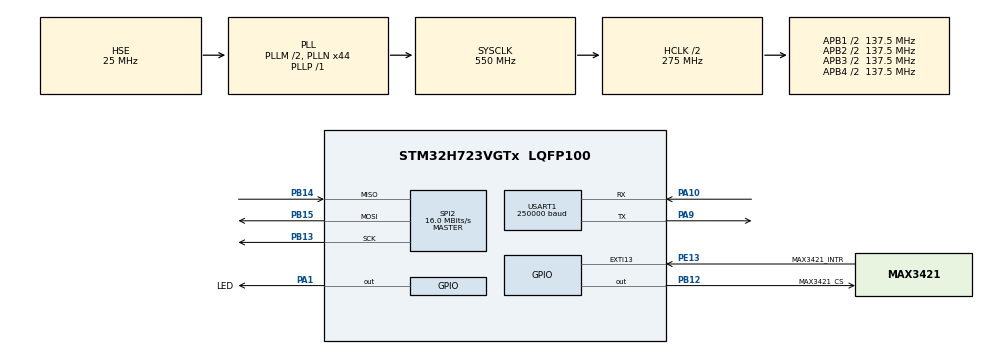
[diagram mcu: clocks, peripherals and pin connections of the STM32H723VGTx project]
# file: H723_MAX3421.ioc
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CORTEX_M7.default_mode_Activation=1
Mcu.Family=STM32H7
Mcu.Name=STM32H723VGTx
Mcu.Package=LQFP100
NVIC.EXTI15_10_IRQn=true\:0\:0\:false\:false\:true\:true\:true\:true
NVIC.PriorityGroup=NVIC_PRIORITYGROUP_4
NVIC.TIM6_DAC_IRQn=true\:15\:0\:false\:false\:true\:false\:true\:true
NVIC.TimeBase=TIM6_DAC_IRQn
NVIC.TimeBaseIP=TIM6
PA1.GPIO_Label=LED
PA1.PinState=GPIO_PIN_RESET
PA1.Signal=GPIO_Output
PA10.Mode=Asynchronous
PA10.Signal=USART1_RX
PA9.Mode=Asynchronous
PA9.Signal=USART1_TX
PB12.GPIO_Label=MAX3421_CS
PB12.Signal=GPIO_Output
PB13.GPIO_PuPd=GPIO_NOPULL
PB13.GPIO_Speed=GPIO_SPEED_FREQ_LOW
PB13.Mode=Full_Duplex_Master
PB13.Signal=SPI2_SCK
PB14.GPIO_PuPd=GPIO_NOPULL
PB14.GPIO_Speed=GPIO_SPEED_FREQ_LOW
PB14.Mode=Full_Duplex_Master
PB14.Signal=SPI2_MISO
PB15.GPIO_PuPd=GPIO_NOPULL
PB15.GPIO_Speed=GPIO_SPEED_FREQ_LOW
PB15.Mode=Full_Duplex_Master
PB15.Signal=SPI2_MOSI
PE13.GPIO_Label=MAX3421_INTR
PE13.GPIO_ModeDefaultEXTI=GPIO_MODE_IT_FALLING
PE13.GPIO_PuPd=GPIO_NOPULL
PE13.Signal=GPXTI13
PH0-OSC_IN.Mode=HSE-External-Oscillator
PH0-OSC_IN.Signal=RCC_OSC_IN
PH1-OSC_OUT.Mode=HSE-External-Oscillator
PH1-OSC_OUT.Signal=RCC_OSC_OUT
ProjectManager.HeapSize=0x200
ProjectManager.StackSize=0x400
ProjectManager.TargetToolchain=STM32CubeIDE
RCC.ADCFreq_Value=10000000
RCC.APB1Freq_Value=137500000
RCC.APB2Freq_Value=137500000
RCC.APB3Freq_Value=137500000
RCC.APB4Freq_Value=137500000
RCC.CortexFreq_Value=68750000
RCC.Cortex_Div=SYSTICK_CLKSOURCE_HCLK_DIV8
RCC.D1PPRE=RCC_APB3_DIV2
RCC.D2PPRE1=RCC_APB1_DIV2
RCC.D2PPRE2=RCC_APB2_DIV2
RCC.D3PPRE=RCC_APB4_DIV2
RCC.DATA_CACHE_ENABLE=1
RCC.DIVM1=2
RCC.DIVM2=5
RCC.DIVM3=5
RCC.DIVN1=44
RCC.DIVN2=40
RCC.DIVN3=64
RCC.DIVP1=1
RCC.DIVP2=20
RCC.DIVP3=4
RCC.DIVQ1=11
RCC.HCLKFreq_Value=275000000
RCC.HPRE=RCC_HCLK_DIV2
RCC.HSE_VALUE=25000000
RCC.INSTRUCTION_CACHE_ENABLE=1
RCC.PLL2FRACN=0
RCC.PLL3FRACN=0
RCC.PLLFRACN=0
RCC.PLLSourceVirtual=RCC_PLLSOURCE_HSE
RCC.PREFETCH_ENABLE=1
RCC.SPI123CLockSelection=RCC_SPI123CLKSOURCE_CLKP
RCC.SYSCLKFreq_VALUE=550000000
RCC.SYSCLKSource=RCC_SYSCLKSOURCE_PLLCLK
RCC.USBCLockSelection=RCC_USBCLKSOURCE_HSI48
RCC.USBFreq_Value=48000000
SPI2.BaudRatePrescaler=SPI_BAUDRATEPRESCALER_4
SPI2.CLKPhase=SPI_PHASE_1EDGE
SPI2.CLKPolarity=SPI_POLARITY_LOW
SPI2.CalculateBaudRate=16.0 MBits/s
SPI2.DataSize=SPI_DATASIZE_8BIT
SPI2.Direction=SPI_DIRECTION_2LINES
SPI2.FirstBit=SPI_FIRSTBIT_MSB
SPI2.MasterInterDataIdleness=SPI_MASTER_INTERDATA_IDLENESS_15CYCLE
SPI2.MasterSSIdleness=SPI_MASTER_SS_IDLENESS_15CYCLE
SPI2.Mode=SPI_MODE_MASTER
SPI2.NSSPMode=SPI_NSS_PULSE_DISABLE
SPI2.NSSPolarity=SPI_NSS_POLARITY_LOW
SPI2.VirtualType=VM_MASTER
USART1.BaudRate=250000
USART1.VirtualMode-Asynchronous=VM_ASYNC
VP_MEMORYMAP_VS_MEMORYMAP.Mode=CurAppReg
VP_SYS_VS_tim6.Mode=TIM6
board=custom

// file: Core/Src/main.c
/* USER CODE BEGIN Header */
/**
 ******************************************************************************
 * @file           : main.c
 * @brief          : Main program body
 ******************************************************************************
 * @attention
 *
 * Copyright (c) 2026 STMicroelectronics.
 * All rights reserved.
 *
 * This software is licensed under terms that can be found in the LICENSE file
 * in the root directory of this software component.
 * If no LICENSE file comes with this software, it is provided AS-IS.
 *
 ******************************************************************************
 */

/**********************************************************************************************
 * IRON 2026 smart USB bootloader for Mellow Fly D8 Pro (STM32H723) with MAX3421 at EXP2 port *
 **********************************************************************************************/

/* USER CODE END Header */
#include "main.h"

/* USER CODE BEGIN Includes */

#include <stdarg.h>      // For uart_printf
#include <string.h>      // For memset
#include "tusb.h"        // TinyUSB
#include "tusb_config.h" // TinyUSB configuration
#include "ff.h"          // FatFS
#include "diskio.h"      // DiskIO for FatFS

// Function prototypes of API functions
void tuh_max3421_spi_cs_api(uint8_t rhport, bool active);
uint8_t tuh_max3421_reg_read(uint8_t rhport, uint8_t reg, bool in_isr);
bool tuh_max3421_reg_write(uint8_t rhport, uint8_t reg, uint8_t data, bool in_isr);

// define the buffer to be place in USB/DMA memory with correct alignment/cache line size
CFG_TUH_MEM_SECTION static struct {
	TUH_EPBUF_TYPE_DEF(scsi_inquiry_resp_t, inquiry)
	;
} scsi_resp;

/* USER CODE END Includes */

/* USER CODE BEGIN PD */

#define DEBUG_USART_HANDLE       huart1                                 // The UART to send debug info to
#define SPI_HANDLE               hspi2                                  // SPI device for MAX3421 communication
// NOTE: Select "LOW" for the SPI pins maximum frequency

#define FAST_SPI                                                        // Use a faster/leaner SPI implementation

#define VERBOSE_MODE                                                    // Comment out to disable sending info to USART (250K baud)
#define COMPARE_BEFORE_FLASH                                            // Comment out to not compare the firmware file to the flash contents (faster)
#define FIRMWARE_FILENAME        "firmware.bin"                         // The firmware file to flash
#define FIRMWARE_RENAME          "firmware.cur"                         // Rename the firmware after flashing

// Make sure pins don't interfere with SWD debug pins PA13 and PA14, disable when debugging
#define PROGRESS_LED_PIN         GPIO_PIN_13                            // Progress LED pin, flashes during flash update
#define PROGRESS_LED_PORT        GPIOA                                  // Progress LED port

#define DFU_ON_DOUBLE_RESET                                             // Double reset to start DFU mode, comment out to disable
#define DFU_MAGIC_KEY            0xBA5EBA11                             // Magic key to detect DFU mode
#define DFU_MAGIC_KEY_ADDRESS    RTC->BKP31R                            // Store the magic key at RTC backup register 31

#define FLASHWORD                (FLASH_NB_32BITWORD_IN_FLASHWORD * 4U) // 32 bytes on STM32H7
#define FILE_BUFFER_SIZE         4096UL                                 // File buffer size, must be divisible by FLASHWORD

#define FLASH_BOOTLOADER_SIZE    (FLASH_SECTOR_SIZE * 1)                // Bootloader flash size (1 sector of 128KBytes)
#define FLASH_USER_START_SECTOR  1U                                     // Bootloader in sector 0, user app starts at sector 1
#define FLASH_USER_START_ADDR    (FLASH_BASE + FLASH_BOOTLOADER_SIZE)   // Should start on a new sector boundary

/* STM32 DFU bootloader addresses
 STM32C0   0x1FFF0000 | STM32F030x8 0x1FFFEC00 | STM32F030xC 0x1FFFD800 | STM32F03xx 0x1FFFEC00
 STM32F05  0x1FFFEC00 | STM32F07    0x1FFFC800 | STM32F09    0x1FFFD800 | STM32F10xx 0x1FFFF000
 STM32F105 0x1FFFB000 | STM32F107   0x1FFFB000 | STM32F10XL  0x1FFFE000 | STM32F2    0x1FFF0000
 STM32F3   0x1FFFD800 | STM32F4     0x1FFF0000 | STM32F7     0x1FF00000 | STM32G0    0x1FFF0000
 STM32G4   0x1FFF0000 | STM32H503   0x0BF87000 | STM32H563   0x0BF97000 | STM32H573  0x0BF97000
 STM32H7x  0x1FF09800 | STM32H7A    0x1FF0A800 | STM32H7B    0x1FF0A000 | STM32L0    0x1FF00000
 STM32L1   0x1FF00000 | STM32L4     0x1FFF0000 | STM32L5     0x0BF90000 | STM32WBA   0x0BF88000
 STM32WBX  0x1FFF0000 | STM32WL     0x1FFF0000 | STM32U5     0x0BF90000 */

#define DFU_BOOTLOADER_ADDRESS   0x1FF09800U // STM32H7xx address to start the DFU bootloader

/* FATFS ERROR CODES
 0 Succeeded
 1 A hard error occurred in the low level disk I/O layer
 2 Assertion failed
 3 The physical drive cannot work
 4 Could not find the file
 5 Could not find the path
 6 The path name format is invalid
 7 Access denied due to prohibited access or directory full
 8 Access denied due to prohibited access
 9 The file/directory object is invalid
 10 The physical drive is write protected
 11 The logical drive number is invalid
 12 The volume has no work area
 13 There is no valid FAT volume
 14 The f_mkfs() aborted due to any problem
 15 Could not get a grant to access the volume within defined period
 16 The operation is rejected according to the file sharing policy
 17 LFN working buffer could not be allocated
 18 Number of open files > _FS_LOCK
 19 Given parameter is invalid */

/* USER CODE END PD */

SPI_HandleTypeDef hspi2;

UART_HandleTypeDef huart1;

/* USER CODE BEGIN PV */

FATFS FatFs;                      // FAT File System handle
FIL fwFile;                       // File handle for the firmware file
FRESULT result;                   // File operation result
uint32_t fileSize;                // Firmware file size in bytes
uint8_t fileBuffer[FILE_BUFFER_SIZE] __attribute__((aligned(32))); // File read buffer
volatile bool _disk_busy = false; // For FatFs

/* USER CODE END PV */

void SystemClock_Config(void);
void PeriphCommonClock_Config(void);
static void MPU_Config(void);
static void MX_GPIO_Init(void);
static void MX_SPI2_Init(void);
static void MX_USART1_UART_Init(void);

/* USER CODE BEGIN 0 */

// Calculate CRC32 of a block of data
#define CRC32_START 0xFFFFFFFF // Start value for the CRC32 calculation
uint32_t crc32b(uint32_t crc, uint8_t *data, uint32_t size) {
	for (int i = 0; i < size; i++) {
		crc = crc ^ data[i];
		for (int j = 8; j; j--)
			crc = (crc >> 1) ^ (0xEDB88320 & -(crc & 1));
	}
	return ~crc;
}

#ifdef VERBOSE_MODE // No serial output if not in VERBOSE_MODE

// Lightweight printf, prints to uart (DEBUG_USART_HANDLE), no floats
void uart_printf(const char *fmt, ...) {
	va_list va;
	va_start(va, fmt);
	char debug_msg[255]; // Message buffer
	char *buf = debug_msg;
	char c;
	unsigned int num;

	while ((c = *(fmt++))) {

		if (c == '%') {
			int width = 0;
			int base = 2;
			int s_int = 0;
			char space_zero = ' ';
			MORE_FORMAT:
				c = *(fmt++); // Skip '%', check parameters

				switch (c) {
			case '0':
				if (width == 0)
					space_zero = '0';
			case '1' ... '9': // Width indicators
				width = (width * 10) + c - '0';
				goto MORE_FORMAT;

			case '%': // "%%" prints "%"
				*(buf++) = '%';
				break;

			case 'c': // Character
				*(buf++) = va_arg(va, int);
				break;

			case 'd': // Signed integer, base 10
			case 'i':
				base = 10;
				s_int = va_arg(va, int);
				if (s_int < 0)
					num = -s_int;
				else
					num = s_int;
				goto ATOI;
			case 'x':      // Hexadecimal, base 16
				base += 6; // 2 + 6 + 8 is base 16
			case 'u':      // Unsigned integer, base 10
				base += 8; // 2 + 8 is base 10
			case 'b':      // Binary, base 2
				num = va_arg(va, unsigned int);
				ATOI: char tmp[32]; // 32bit
				char *q = tmp;

				do {
					int rem = '0' + (num % base);
					if (rem > '9')
						rem += 7; // Map to 'ABCDEF'
					*(q++) = rem;
				} while ((num /= base));

				if (s_int < 0)
					*(q++) = '-';

				width -= q - tmp;
				while (width-- > 0)
					*(buf++) = space_zero;

				while (tmp < q) // Reverse data order, "123" --> "321"
					*(buf++) = *(--q);
				break;

			case 's':  // String
			{
				const char *p = va_arg(va, const char*);
				while (*p)
					*(buf++) = *(p++);
			}
			}
		} else
			*(buf++) = c; // Copy literal characters
	}
	*buf = '\0'; // Terminate string

	va_end(va);

	HAL_UART_Transmit(&DEBUG_USART_HANDLE, (uint8_t*) debug_msg, buf - debug_msg, HAL_MAX_DELAY);

#ifdef PROGRESS_LED_PIN
	HAL_GPIO_TogglePin(PROGRESS_LED_PORT, PROGRESS_LED_PIN); // Flash LED
#endif
}

#else

  #ifdef PROGRESS_LED_PIN
    void uart_printf(const char * fmt, ...) { HAL_GPIO_TogglePin(PROGRESS_LED_PORT, PROGRESS_LED_PIN); }
  #else
    void uart_printf(const char * fmt, ...) { }
  #endif

#endif

#ifdef DFU_ON_DOUBLE_RESET

#define set_magic_key(a) *(__IO uint32_t *)DFU_MAGIC_KEY_ADDRESS = a; \
                             *(__IO uint32_t *)DFU_MAGIC_KEY_ADDRESS = a

#else

    #define set_magic_key(a)

#endif

// Return value: 0=equal, 1=different, 2=error
uint32_t compareFlashToFile(void) {
	uint32_t i = 0, j;
	uint32_t file_crc32 = ~CRC32_START; // Invert here, will be undone in crc32b
	int different = 0;
	unsigned int bytesRead;
	result = f_lseek(&fwFile, 0); // Not strictly needed

	while ((i < fileSize) && (result == FR_OK) && (different == 0)) {
		result = f_read(&fwFile, fileBuffer, FILE_BUFFER_SIZE, &bytesRead);
		file_crc32 = crc32b(~file_crc32, fileBuffer, bytesRead);
		j = 0;
		while ((j < bytesRead) && (result == FR_OK) && (different == 0)) {
			if (*(__IO char*) (FLASH_USER_START_ADDR + i + j) != fileBuffer[j]) {
				different = 1;
				uart_printf("Difference found at: 0x%x\r\n", FLASH_USER_START_ADDR + i + j);
			}
			j++;
		}
		i += bytesRead;
	}

	if (result) {
		uart_printf("File read error: %d\r\n", result);
		return 2;
	} else if (different)
		uart_printf("Flash contents differs, updating...\r\n");
	else {
		uart_printf("Flash contents is the same, done!\r\n");
		uart_printf("Flash CRC32: 0x%x\r\n", file_crc32);
	}

	return different; // 0=equal, 1=different, 2=file read error
}

// Return value: 0=OK, 1=failed/error
int CopyFileToFlashMemory(void) {
	// STM32H7xx FLASH SECTORS 0-7 all are 128KBytes (FLASH_SECTOR_SIZE)

	// Erase required sectors to fit the user application
	uint32_t erasedSize = 0;
	uint32_t sector = FLASH_USER_START_SECTOR;

	HAL_FLASH_Unlock();
	FRESULT file_result = f_lseek(&fwFile, 0);

	while ((erasedSize < fileSize) && !file_result) {
		uart_printf("Erasing 128KB flash sector %d\r\n", sector);

	    FLASH_Erase_Sector(sector, FLASH_BANK_1, FLASH_VOLTAGE_RANGE_3);
	    if (HAL_FLASH_GetError() != HAL_FLASH_ERROR_NONE) {
	        uart_printf("Flash erase error: 0x%x\r\n", HAL_FLASH_GetError());
	        HAL_FLASH_Lock();
	        return 1;
	    }

	    erasedSize += FLASH_SECTOR_SIZE;
		sector++;
	}

	uart_printf("Flashing firmware to 0x0%x\r\n",
	FLASH_USER_START_ADDR);

	uint32_t byteCounter = 0;
	uint32_t i;
	uint32_t file_crc32 = ~CRC32_START; // Invert here, will be undone in crc32b
	unsigned int bytesRead;

	// Copy file to flash memory
	HAL_StatusTypeDef flash_result = HAL_OK;
	while ((byteCounter < fileSize) && !file_result) {
		// f_read will always return a full buffer, except at the end of the file
		file_result = f_read(&fwFile, fileBuffer, FILE_BUFFER_SIZE, &bytesRead);
		file_crc32 = crc32b(~file_crc32, fileBuffer, bytesRead);

		if (bytesRead < FILE_BUFFER_SIZE) // Add some "erased flash" bytes to the buffer at the end of the file
			memset(fileBuffer + bytesRead, 0xFF, (FILE_BUFFER_SIZE - bytesRead) % FLASHWORD);

		// Write FLASHWORDs to flash memory
		i = 0;
		while ((i < bytesRead) && !file_result && !flash_result) {
			flash_result = HAL_FLASH_Program(FLASH_TYPEPROGRAM_FLASHWORD,
			FLASH_USER_START_ADDR + byteCounter + i, (uint32_t) (fileBuffer + i));
			i += FLASHWORD;
		}
		byteCounter += bytesRead;
	}

	HAL_FLASH_Lock();

	// Verify flash contents
	int status = 0;
	if ((file_result == FR_OK) && (flash_result == HAL_OK)) { // All went OK, verify flash contents
		uint32_t flash_crc32 = crc32b(CRC32_START, (uint8_t*) FLASH_USER_START_ADDR, fileSize);

		if (file_crc32 != flash_crc32) {
			uart_printf("ERROR: Verify failed, CRC: 0x%x\r\n", flash_crc32);
			status = 1;
		}
		else
			uart_printf("Verify OK\r\nFlash CRC32: 0x%x\r\n", flash_crc32);

	} else { // File read error or flash error
		status  = 1;

		if (file_result != FR_OK)
            uart_printf("File error: %d\r\n", file_result);

        if (flash_result != HAL_OK)
            uart_printf("Flash program error: %d\r\n", flash_result);
	}

	HAL_Delay(1000); // Give some time to read the error before restarting

	return status;
}

// -----------------------------------------------------------------
// TinyUSB SPI API for MAX3421 USB 2.0 HOST
// -----------------------------------------------------------------
// API to enable/disable MAX3421 INTR pin interrupt
// Continuously called when SPI traffic occurs
void tuh_max3421_int_api(uint8_t rhport, bool enabled) {
	(void) rhport; // Not used

	if (enabled) {
		// Configure MAX3421 interrupt line, pin PE13
		HAL_NVIC_SetPriority(EXTI15_10_IRQn, 0, 0); // Set interrupt priority
		HAL_NVIC_EnableIRQ(EXTI15_10_IRQn);         // Enable EXT interrupt
	} else
		HAL_NVIC_DisableIRQ(EXTI15_10_IRQn);        // Disable EXT interrupt
}

// TinyUSB API to control MAX3421 SPI CS
// Note: Hardware NSS doesn't work with the MAX3421 for some reason
void tuh_max3421_spi_cs_api(uint8_t rhport, bool active) {
	(void) rhport; // Not used
	HAL_GPIO_WritePin(MAX3421_CS_GPIO_Port, MAX3421_CS_Pin, active ? GPIO_PIN_RESET : GPIO_PIN_SET);
}

// This is a stripped down version of:
// HAL_StatusTypeDef HAL_SPI_TransmitReceive(SPI_HandleTypeDef *hspi, const uint8_t *pTxData, uint8_t *pRxData, uint16_t Size, uint32_t Timeout);
void HAL_SPI_TransmitReceive_fast(const uint8_t *pTxData, uint8_t *pRxData, uint16_t count) {
	uint16_t rx_count = count;
	uint16_t tx_count = count;
	static volatile uint8_t dummy;

	volatile uint8_t *TXDR = (uint8_t*) &(SPI_HANDLE.Instance->TXDR);
	volatile uint8_t *RXDR = (uint8_t*) &(SPI_HANDLE.Instance->RXDR);
	volatile uint32_t *SR = &(SPI_HANDLE.Instance->SR);

	// Set the number of data at current transfer
	MODIFY_REG(SPI_HANDLE.Instance->CR2, SPI_CR2_TSIZE, count);

	__HAL_SPI_ENABLE(&SPI_HANDLE);
	SET_BIT(SPI_HANDLE.Instance->CR1, SPI_CR1_CSTART);

	while (tx_count || rx_count) {
		if (tx_count && (*SR & SPI_FLAG_TXE)) {
			if (pTxData)
				*TXDR = *pTxData++;
			else
				*TXDR = 0xFF;
			tx_count--;
		}

		if (rx_count && (*SR & SPI_FLAG_RXNE)) {
			if (pRxData)
				*pRxData++ = *RXDR;
			else
				dummy = *RXDR;
			rx_count--;
		}
	}

	// Call standard close procedure with error check
	__HAL_SPI_CLEAR_TXTFFLAG(&SPI_HANDLE);
	__HAL_SPI_DISABLE(&SPI_HANDLE);

	UNUSED(dummy);
}

// TinyUSB API to transfer data with MAX3421 SPI
// Either tx_buf or rx_buf can be NULL, which means transfer is write or read only
bool tuh_max3421_spi_xfer_api(uint8_t rhport, uint8_t const *tx_buf, uint8_t *rx_buf, size_t xfer_bytes) {
	(void) rhport; // Unused

#ifdef FAST_SPI // Faster SPI implementation
	HAL_SPI_TransmitReceive_fast(tx_buf, rx_buf, xfer_bytes);
#else

  if ((tx_buf == NULL) && (rx_buf == NULL))
    return false;

  if (tx_buf == NULL) // Receive only
    return (HAL_SPI_Receive(&SPI_HANDLE, rx_buf, (uint16_t)xfer_bytes, 1000) == HAL_OK);

  if (rx_buf == NULL) // Send only
    return (HAL_SPI_Transmit(&SPI_HANDLE, tx_buf, (uint16_t)xfer_bytes, 1000) == HAL_OK);

  // Send and receive
  HAL_SPI_TransmitReceive(&SPI_HANDLE, tx_buf, rx_buf, xfer_bytes, 1000);

#endif // FAST_SPI

	return true;

}

// TinyUSB API to get time in milliseconds
uint32_t tusb_time_millis_api(void) {
	return HAL_GetTick();
}

// TinyUSB Callback implementation
static bool inquiry_complete_cb(uint8_t dev_addr, tuh_msc_complete_data_t const *cb_data) {
	msc_cbw_t const *cbw = cb_data->cbw;
	msc_csw_t const *csw = cb_data->csw;

	if (csw->status != 0) {
		uart_printf("Inquiry failed\r\n");
		return false;
	}

	// Get capacity of device
	uint32_t const block_count = tuh_msc_get_block_count(dev_addr, cbw->lun);
	uint32_t const block_size = tuh_msc_get_block_size(dev_addr, cbw->lun);

	uart_printf("Time: %ums  Disk size: %d MB\r\n%d blocks of %d bytes\r\n", HAL_GetTick(),
			block_count / ((1024 * 1024) / block_size), block_count, block_size);

	result = f_mount(&FatFs, "", 1);
	if (result) {
		if (result == 3)
			uart_printf("No medium mounted, status: 3\r\n");
		else
			uart_printf("ERROR: USB mounting failed\r\nNot FAT/exFAT? Error: %d\r\n", result);

		goto USER_APP;
	}

	uart_printf(FIRMWARE_FILENAME);
	if (f_open(&fwFile, FIRMWARE_FILENAME, FA_READ)) {
		uart_printf(" not found\r\n");
		goto USER_APP;
	}
	uart_printf(" opened successfully\r\n");

	fileSize = f_size(&fwFile);

	// Get device flash size from memory (in KBytes)
	__IO uint16_t flashSize = *(uint16_t*) (FLASHSIZE_BASE);
	uart_printf("Total flash memory size: %d KB\r\n", flashSize);

	uint32_t freeFlash = (flashSize << 10) - FLASH_BOOTLOADER_SIZE;
	uart_printf("Free flash space: %d KB\r\n", freeFlash >> 10);

	uart_printf("Firmware file size: %d KB\r\n", fileSize >> 10);

	if (fileSize > freeFlash) {
		uart_printf("ERROR: Not enough free flash space\r\n");
		f_close(&fwFile); // Not strictly needed, comment out to save some flash
		goto USER_APP;
	}

#ifdef COMPARE_BEFORE_FLASH

	uart_printf("Comparing update to flash contents...\r\n");

	result = compareFlashToFile(); // Return value: 0=equal, 1=different, 2=error

	if (result > 1) // File read error
		goto USER_APP;

	if (result == 1) // Flash is different, update required
		result = CopyFileToFlashMemory(); // Return value: 0=OK, 1=failed/error

#else // Just flash the file

    result = CopyFileToFlashMemory(); // Return value: 0=OK, 1=failed/error

#endif

	f_close(&fwFile); // Must close file before renaming

#ifdef FIRMWARE_RENAME

	if (result == FR_OK) { // Only rename/delete if file was flashed successfully

		f_unlink(FIRMWARE_RENAME); // Delete the old firmware (if present)

		if (f_rename(FIRMWARE_FILENAME, FIRMWARE_RENAME) != FR_OK) {
			uart_printf("ERROR: Failed to rename firmware file");
			result = 1; // Signal error
		} else
			uart_printf("Renaming file to %s\r\n", FIRMWARE_RENAME);
	}

#endif

	USER_APP:

	set_magic_key(0); // IMPORTANT, KEEP HERE

	f_mount(NULL, "", 0); // Unmount USB, not strictly needed, comment out to save some flash

	if (*(__IO uint32_t*) FLASH_USER_START_ADDR != 0xFFFFFFFF) { // Check if flash is empty

		uart_printf("Starting user application at 0x0%x\r\n",
		FLASH_USER_START_ADDR);
		HAL_Delay(25);

		tuh_max3421_int_api(0, false);
		HAL_RCC_DeInit(); // Set the clock to the default state
		HAL_DeInit();

		uint32_t *vtor = (void*) FLASH_USER_START_ADDR;
		SCB->VTOR = (uint32_t) vtor;
		__DSB();
		__ISB();

		// Make the jump
		asm volatile("MSR msp,%0\nbx %1" : : "r"(vtor[0]), "r"(vtor[1]));
	}

	uart_printf("No user application found, done!\r\n");

	while (1) { // Start slow LED flash
#ifdef PROGRESS_LED_PIN
		HAL_GPIO_TogglePin(PROGRESS_LED_PORT, PROGRESS_LED_PIN);
		HAL_Delay(1500);
#endif
	};

	return true;
}

void tuh_msc_mount_cb(uint8_t dev_addr) { // Device mounted
	uint8_t const lun = 0;
	tuh_msc_inquiry(dev_addr, lun, &scsi_resp.inquiry, inquiry_complete_cb, 0);
}

//--------------------------------------------------------------------+
// DiskIO Implementation
//--------------------------------------------------------------------+
static void wait_for_disk_io(BYTE pdrv) {
	while (_disk_busy)
		tuh_task();
}

static bool disk_io_complete(uint8_t dev_addr, tuh_msc_complete_data_t const *cb_data) {
	(void) dev_addr;
	(void) cb_data;
	_disk_busy = false;
	return true;
}

DSTATUS disk_status(BYTE pdrv) { // Physical drive number should be 0
	uint8_t dev_addr = pdrv + 1;
	return tuh_msc_mounted(dev_addr) ? 0 : STA_NODISK;
}

DSTATUS disk_initialize(BYTE pdrv) { // Physical drive number should be 0
	(void) pdrv;
	return 0; // nothing to do
}

DRESULT disk_read(BYTE pdrv,      // Physical drive nmuber to identify the drive
		BYTE *buff,    // Data buffer to store read data
		LBA_t sector,  // Start sector in LBA
		UINT count) {  // Number of sectors to read

	uint8_t const dev_addr = pdrv + 1;
	uint8_t const lun = 0;

	_disk_busy = true;
	if (!tuh_msc_read10(dev_addr, lun, buff, sector, (uint16_t)count, disk_io_complete, 0)) {
	    _disk_busy = false;
	    return RES_ERROR;
	}
	wait_for_disk_io(pdrv);

	return RES_OK;
}

#if (FF_FS_READONLY == 0)
DRESULT disk_write(BYTE pdrv, /* Physical drive number to identify the drive */
const BYTE *buff, /* Data to be written */
LBA_t sector, /* Start sector in LBA */
UINT count) { /* Number of sectors to write */

	uint8_t const dev_addr = pdrv + 1;
	uint8_t const lun = 0;

	_disk_busy = true;
	tuh_msc_write10(dev_addr, lun, buff, sector, (uint16_t) count, disk_io_complete, 0);
	wait_for_disk_io(pdrv);

	return RES_OK;
}
#endif

DRESULT disk_ioctl(BYTE pdrv, /* Physical drive number (0..) */
BYTE cmd, /* Control code */
void *buff) { /* Buffer to send/receive control data */

	uint8_t const dev_addr = pdrv + 1;
	uint8_t const lun = 0;
	switch (cmd) {
	case CTRL_SYNC:
		// nothing to do since we do blocking
		return RES_OK;

	case GET_SECTOR_COUNT:
		*((DWORD*) buff) = (WORD) tuh_msc_get_block_count(dev_addr, lun);
		return RES_OK;

	case GET_SECTOR_SIZE:
		*((WORD*) buff) = (WORD) tuh_msc_get_block_size(dev_addr, lun);
		return RES_OK;

	case GET_BLOCK_SIZE:
		*((DWORD*) buff) = 1;    // erase block size in units of sector size
		return RES_OK;

	default:
		return RES_PARERR;
	}

	return RES_OK;
}

#define rHIRQ         (25 << 3)
#define bmFRAMEIRQ    0x40
bool MAX3421_wait_frames(uint32_t frames, uint32_t timeout) {
	tuh_max3421_reg_write(0, rHIRQ, bmFRAMEIRQ, false); // clear the FRAME interrupt
	uint32_t start = HAL_GetTick();
	while (frames && (HAL_GetTick() - start < timeout)) {
		if (tuh_max3421_reg_read(0, rHIRQ, false) & bmFRAMEIRQ) {
			tuh_max3421_reg_write(0, rHIRQ, bmFRAMEIRQ, false); // clear the FRAME interrupt
			frames--;
		}
	}
// tuh_task();
	return (frames > 0);
}

/* USER CODE END 0 */

int main(void)
{

  /* MPU Configuration--------------------------------------------------------*/
  MPU_Config();

  /* MCU Configuration--------------------------------------------------------*/

  /* Reset of all peripherals, Initializes the Flash interface and the Systick. */
  HAL_Init();

  /* Configure the system clock */
  SystemClock_Config();

  /* Configure the peripherals common clocks */
  PeriphCommonClock_Config();

  /* Initialize all configured peripherals */
  MX_GPIO_Init();
  MX_SPI2_Init();
  MX_USART1_UART_Init();
  /* USER CODE BEGIN 2 */

	// Enable RTC clock for DFU magic key access
	HAL_PWR_EnableBkUpAccess();
	__HAL_RCC_RTC_CLK_ENABLE();

	tuh_max3421_reg_read(0, (18 << 3), false); // Startup SPI dummy command, read chip revision

	tusb_rhport_init_t host_init = { .role = TUSB_ROLE_HOST, .speed = TUSB_SPEED_AUTO };
	tusb_init(BOARD_TUH_RHPORT, &host_init);

#ifdef DFU_ON_DOUBLE_RESET

	// Detect magic key
	if (*(__IO uint32_t*) DFU_MAGIC_KEY_ADDRESS == DFU_MAGIC_KEY) {
		set_magic_key(0);
		MX_GPIO_Init();
		MX_USART1_UART_Init();
		uart_printf("\r\nStarting DFU mode\r\n");
		HAL_Delay(25);

		tuh_max3421_int_api(0, false);
		HAL_RCC_DeInit(); // Set the clock to the default state
		HAL_DeInit();

		uint32_t *vtor = (void*) DFU_BOOTLOADER_ADDRESS;
		SCB->VTOR = (uint32_t) vtor;
		__DSB();
		__ISB();

		// Make the jump
		asm volatile("MSR msp,%0\nbx %1" : : "r"(vtor[0]), "r"(vtor[1]));
	}

	// Wait for 2nd reset while DFU marker is set
	set_magic_key(DFU_MAGIC_KEY);

#endif

	bool dontwait = MAX3421_wait_frames(250, 2500); // Number of frames (about 2ms/frame), timeout in ms

#ifdef DFU_ON_DOUBLE_RESET

	set_magic_key(0);

#endif

	uart_printf("MAX3421 USB bootloader started\r\n");

  /* USER CODE END 2 */

  /* Infinite loop */
  /* USER CODE BEGIN WHILE */

	while (1) {
		tuh_task();

		// Timeout counter
		if (dontwait || (HAL_GetTick() > 2200)) { // Usually takes 1150-2200ms

			uart_printf("Time: %ums   Timeout...\r\n", HAL_GetTick());
			set_magic_key(0); // IMPORTANT, KEEP HERE

			f_mount(NULL, "", 0); // Unmount USB, not strictly needed, comment out to save some flash

			if (*(__IO uint32_t*) FLASH_USER_START_ADDR != 0xFFFFFFFF) { // Check if flash is empty

				uart_printf("Starting user application at 0x0%x\r\n",
				FLASH_USER_START_ADDR);
				HAL_Delay(25);

				tuh_max3421_int_api(0, false);
				SysTick->CTRL = SysTick->LOAD = SysTick->VAL = 0;
				SCB->ICSR |= SCB_ICSR_PENDSTCLR_Msk; // clear pending SysTick
				HAL_RCC_DeInit(); // Set the clock to the default state
				HAL_DeInit();

				SCB->VTOR = FLASH_USER_START_ADDR;
				__DSB();
				__ISB();

				uint32_t jump_addr = *(__IO uint32_t*) (FLASH_USER_START_ADDR + 4);
				__set_MSP(*(__IO uint32_t*) FLASH_USER_START_ADDR);
				((void (*)(void)) jump_addr)(); /* never returns */
			}

			uart_printf("No user application found, done!\r\n");

			while (1) { // Start slow LED flash
#ifdef PROGRESS_LED_PIN
				HAL_GPIO_TogglePin(PROGRESS_LED_PORT, PROGRESS_LED_PIN);
				HAL_Delay(1500);
#endif
			};
		}

    /* USER CODE END WHILE */

	}
}

void SystemClock_Config(void)
{
  RCC_OscInitTypeDef RCC_OscInitStruct = {0};
  RCC_ClkInitTypeDef RCC_ClkInitStruct = {0};

  /** Supply configuration update enable
  */
  HAL_PWREx_ConfigSupply(PWR_LDO_SUPPLY);

  /** Configure the main internal regulator output voltage
  */
  __HAL_PWR_VOLTAGESCALING_CONFIG(PWR_REGULATOR_VOLTAGE_SCALE0);

  while(!__HAL_PWR_GET_FLAG(PWR_FLAG_VOSRDY)) {}

  /** Initializes the RCC Oscillators according to the specified parameters
  * in the RCC_OscInitTypeDef structure.
  */
  RCC_OscInitStruct.OscillatorType = RCC_OSCILLATORTYPE_HSI|RCC_OSCILLATORTYPE_HSE;
  RCC_OscInitStruct.HSEState = RCC_HSE_ON;
  RCC_OscInitStruct.HSIState = RCC_HSI_DIV1;
  RCC_OscInitStruct.HSICalibrationValue = 64;
  RCC_OscInitStruct.PLL.PLLState = RCC_PLL_ON;
  RCC_OscInitStruct.PLL.PLLSource = RCC_PLLSOURCE_HSE;
  RCC_OscInitStruct.PLL.PLLM = 2;
  RCC_OscInitStruct.PLL.PLLN = 44;
  RCC_OscInitStruct.PLL.PLLP = 1;
  RCC_OscInitStruct.PLL.PLLQ = 11;
  RCC_OscInitStruct.PLL.PLLR = 2;
  RCC_OscInitStruct.PLL.PLLRGE = RCC_PLL1VCIRANGE_3;
  RCC_OscInitStruct.PLL.PLLVCOSEL = RCC_PLL1VCOWIDE;
  RCC_OscInitStruct.PLL.PLLFRACN = 0;
  if (HAL_RCC_OscConfig(&RCC_OscInitStruct) != HAL_OK)
  {
    Error_Handler();
  }

  /** Initializes the CPU, AHB and APB buses clocks
  */
  RCC_ClkInitStruct.ClockType = RCC_CLOCKTYPE_HCLK|RCC_CLOCKTYPE_SYSCLK
                              |RCC_CLOCKTYPE_PCLK1|RCC_CLOCKTYPE_PCLK2
                              |RCC_CLOCKTYPE_D3PCLK1|RCC_CLOCKTYPE_D1PCLK1;
  RCC_ClkInitStruct.SYSCLKSource = RCC_SYSCLKSOURCE_PLLCLK;
  RCC_ClkInitStruct.SYSCLKDivider = RCC_SYSCLK_DIV1;
  RCC_ClkInitStruct.AHBCLKDivider = RCC_HCLK_DIV2;
  RCC_ClkInitStruct.APB3CLKDivider = RCC_APB3_DIV2;
  RCC_ClkInitStruct.APB1CLKDivider = RCC_APB1_DIV2;
  RCC_ClkInitStruct.APB2CLKDivider = RCC_APB2_DIV2;
  RCC_ClkInitStruct.APB4CLKDivider = RCC_APB4_DIV2;

  if (HAL_RCC_ClockConfig(&RCC_ClkInitStruct, FLASH_LATENCY_3) != HAL_OK)
  {
    Error_Handler();
  }
}

void PeriphCommonClock_Config(void)
{
  RCC_PeriphCLKInitTypeDef PeriphClkInitStruct = {0};

  /** Initializes the peripherals clock
  */
  PeriphClkInitStruct.PeriphClockSelection = RCC_PERIPHCLK_CKPER;
  PeriphClkInitStruct.CkperClockSelection = RCC_CLKPSOURCE_HSI;
  if (HAL_RCCEx_PeriphCLKConfig(&PeriphClkInitStruct) != HAL_OK)
  {
    Error_Handler();
  }
}

static void MX_SPI2_Init(void)
{

  /* SPI2 parameter configuration*/
  hspi2.Instance = SPI2;
  hspi2.Init.Mode = SPI_MODE_MASTER;
  hspi2.Init.Direction = SPI_DIRECTION_2LINES;
  hspi2.Init.DataSize = SPI_DATASIZE_8BIT;
  hspi2.Init.CLKPolarity = SPI_POLARITY_LOW;
  hspi2.Init.CLKPhase = SPI_PHASE_1EDGE;
  hspi2.Init.NSS = SPI_NSS_SOFT;
  hspi2.Init.BaudRatePrescaler = SPI_BAUDRATEPRESCALER_4;
  hspi2.Init.FirstBit = SPI_FIRSTBIT_MSB;
  hspi2.Init.TIMode = SPI_TIMODE_DISABLE;
  hspi2.Init.CRCCalculation = SPI_CRCCALCULATION_DISABLE;
  hspi2.Init.CRCPolynomial = 0x0;
  hspi2.Init.NSSPMode = SPI_NSS_PULSE_DISABLE;
  hspi2.Init.NSSPolarity = SPI_NSS_POLARITY_LOW;
  hspi2.Init.FifoThreshold = SPI_FIFO_THRESHOLD_01DATA;
  hspi2.Init.TxCRCInitializationPattern = SPI_CRC_INITIALIZATION_ALL_ZERO_PATTERN;
  hspi2.Init.RxCRCInitializationPattern = SPI_CRC_INITIALIZATION_ALL_ZERO_PATTERN;
  hspi2.Init.MasterSSIdleness = SPI_MASTER_SS_IDLENESS_15CYCLE;
  hspi2.Init.MasterInterDataIdleness = SPI_MASTER_INTERDATA_IDLENESS_15CYCLE;
  hspi2.Init.MasterReceiverAutoSusp = SPI_MASTER_RX_AUTOSUSP_DISABLE;
  hspi2.Init.MasterKeepIOState = SPI_MASTER_KEEP_IO_STATE_DISABLE;
  hspi2.Init.IOSwap = SPI_IO_SWAP_DISABLE;
  if (HAL_SPI_Init(&hspi2) != HAL_OK)
  {
    Error_Handler();
  }

}

static void MX_USART1_UART_Init(void)
{

  huart1.Instance = USART1;
  huart1.Init.BaudRate = 250000;
  huart1.Init.WordLength = UART_WORDLENGTH_8B;
  huart1.Init.StopBits = UART_STOPBITS_1;
  huart1.Init.Parity = UART_PARITY_NONE;
  huart1.Init.Mode = UART_MODE_TX_RX;
  huart1.Init.HwFlowCtl = UART_HWCONTROL_NONE;
  huart1.Init.OverSampling = UART_OVERSAMPLING_16;
  huart1.Init.OneBitSampling = UART_ONE_BIT_SAMPLE_DISABLE;
  huart1.Init.ClockPrescaler = UART_PRESCALER_DIV1;
  huart1.AdvancedInit.AdvFeatureInit = UART_ADVFEATURE_NO_INIT;
  if (HAL_UART_Init(&huart1) != HAL_OK)
  {
    Error_Handler();
  }
  if (HAL_UARTEx_SetTxFifoThreshold(&huart1, UART_TXFIFO_THRESHOLD_1_8) != HAL_OK)
  {
    Error_Handler();
  }
  if (HAL_UARTEx_SetRxFifoThreshold(&huart1, UART_RXFIFO_THRESHOLD_1_8) != HAL_OK)
  {
    Error_Handler();
  }
  if (HAL_UARTEx_DisableFifoMode(&huart1) != HAL_OK)
  {
    Error_Handler();
  }

}

static void MX_GPIO_Init(void)
{
  GPIO_InitTypeDef GPIO_InitStruct = {0};

  /* GPIO Ports Clock Enable */
  __HAL_RCC_GPIOH_CLK_ENABLE();
  __HAL_RCC_GPIOA_CLK_ENABLE();
  __HAL_RCC_GPIOE_CLK_ENABLE();
  __HAL_RCC_GPIOB_CLK_ENABLE();

  /*Configure GPIO pin Output Level */
  HAL_GPIO_WritePin(LED_GPIO_Port, LED_Pin, GPIO_PIN_RESET);

  /*Configure GPIO pin Output Level */
  HAL_GPIO_WritePin(MAX3421_CS_GPIO_Port, MAX3421_CS_Pin, GPIO_PIN_RESET);

  /*Configure GPIO pin : LED_Pin */
  GPIO_InitStruct.Pin = LED_Pin;
  GPIO_InitStruct.Mode = GPIO_MODE_OUTPUT_PP;
  GPIO_InitStruct.Pull = GPIO_NOPULL;
  GPIO_InitStruct.Speed = GPIO_SPEED_FREQ_LOW;
  HAL_GPIO_Init(LED_GPIO_Port, &GPIO_InitStruct);

  /*Configure GPIO pin : MAX3421_INTR_Pin */
  GPIO_InitStruct.Pin = MAX3421_INTR_Pin;
  GPIO_InitStruct.Mode = GPIO_MODE_IT_FALLING;
  GPIO_InitStruct.Pull = GPIO_NOPULL;
  HAL_GPIO_Init(MAX3421_INTR_GPIO_Port, &GPIO_InitStruct);

  /*Configure GPIO pin : MAX3421_CS_Pin */
  GPIO_InitStruct.Pin = MAX3421_CS_Pin;
  GPIO_InitStruct.Mode = GPIO_MODE_OUTPUT_PP;
  GPIO_InitStruct.Pull = GPIO_NOPULL;
  GPIO_InitStruct.Speed = GPIO_SPEED_FREQ_LOW;
  HAL_GPIO_Init(MAX3421_CS_GPIO_Port, &GPIO_InitStruct);

  /*AnalogSwitch Config */
  HAL_SYSCFG_AnalogSwitchConfig(SYSCFG_SWITCH_PA1, SYSCFG_SWITCH_PA1_CLOSE);

  /* EXTI interrupt init*/
  HAL_NVIC_SetPriority(MAX3421_INTR_EXTI_IRQn, 0, 0);
  HAL_NVIC_EnableIRQ(MAX3421_INTR_EXTI_IRQn);

}

 /* MPU Configuration */

void MPU_Config(void)
{
  MPU_Region_InitTypeDef MPU_InitStruct = {0};

  /* Disables the MPU */
  HAL_MPU_Disable();

  /** Initializes and configures the Region and the memory to be protected
  */
  MPU_InitStruct.Enable = MPU_REGION_ENABLE;
  MPU_InitStruct.Number = MPU_REGION_NUMBER0;
  MPU_InitStruct.BaseAddress = 0x0;
  MPU_InitStruct.Size = MPU_REGION_SIZE_4GB;
  MPU_InitStruct.SubRegionDisable = 0x87;
  MPU_InitStruct.TypeExtField = MPU_TEX_LEVEL0;
  MPU_InitStruct.AccessPermission = MPU_REGION_NO_ACCESS;
  MPU_InitStruct.DisableExec = MPU_INSTRUCTION_ACCESS_DISABLE;
  MPU_InitStruct.IsShareable = MPU_ACCESS_SHAREABLE;
  MPU_InitStruct.IsCacheable = MPU_ACCESS_NOT_CACHEABLE;
  MPU_InitStruct.IsBufferable = MPU_ACCESS_NOT_BUFFERABLE;

  HAL_MPU_ConfigRegion(&MPU_InitStruct);
  /* Enables the MPU */
  HAL_MPU_Enable(MPU_PRIVILEGED_DEFAULT);

}

void HAL_TIM_PeriodElapsedCallback(TIM_HandleTypeDef *htim)
{
  if (htim->Instance == TIM6)
  {
    HAL_IncTick();
  }
}

void Error_Handler(void)
{
	__disable_irq();
	while (1) {
	}
}
